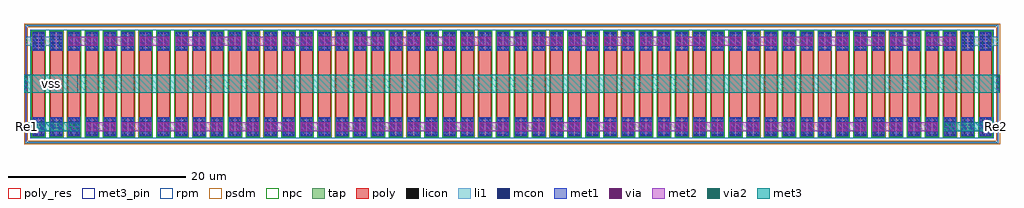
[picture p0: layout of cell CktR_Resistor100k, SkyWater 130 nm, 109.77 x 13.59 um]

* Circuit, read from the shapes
.subckt CktR_Resistor100k Re1 Re2 vss
XR1 vss vss vss sky130_fd_pr__res_high_po w=1.41 l=7.48 m=4
XR2 n1 Re1 vss sky130_fd_pr__res_high_po w=1.41 l=7.48
XR3 n1 n2 vss sky130_fd_pr__res_high_po w=1.41 l=7.48
XR4 n3 n2 vss sky130_fd_pr__res_high_po w=1.41 l=7.48
XR5 n3 n4 vss sky130_fd_pr__res_high_po w=1.41 l=7.48
XR6 n5 n4 vss sky130_fd_pr__res_high_po w=1.41 l=7.48
XR7 n5 n6 vss sky130_fd_pr__res_high_po w=1.41 l=7.48
XR8 n7 n6 vss sky130_fd_pr__res_high_po w=1.41 l=7.48
XR9 n7 n8 vss sky130_fd_pr__res_high_po w=1.41 l=7.48
XR10 n9 n8 vss sky130_fd_pr__res_high_po w=1.41 l=7.48
XR11 n9 n10 vss sky130_fd_pr__res_high_po w=1.41 l=7.48
XR12 n11 n10 vss sky130_fd_pr__res_high_po w=1.41 l=7.48
XR13 n11 n12 vss sky130_fd_pr__res_high_po w=1.41 l=7.48
XR14 n13 n12 vss sky130_fd_pr__res_high_po w=1.41 l=7.48
XR15 n13 n14 vss sky130_fd_pr__res_high_po w=1.41 l=7.48
XR16 n15 n14 vss sky130_fd_pr__res_high_po w=1.41 l=7.48
XR17 n15 n16 vss sky130_fd_pr__res_high_po w=1.41 l=7.48
XR18 n17 n16 vss sky130_fd_pr__res_high_po w=1.41 l=7.48
XR19 n17 n18 vss sky130_fd_pr__res_high_po w=1.41 l=7.48
XR20 n19 n18 vss sky130_fd_pr__res_high_po w=1.41 l=7.48
XR21 n19 n20 vss sky130_fd_pr__res_high_po w=1.41 l=7.48
XR22 n21 n20 vss sky130_fd_pr__res_high_po w=1.41 l=7.48
XR23 n21 n22 vss sky130_fd_pr__res_high_po w=1.41 l=7.48
XR24 n23 n22 vss sky130_fd_pr__res_high_po w=1.41 l=7.48
XR25 n23 n24 vss sky130_fd_pr__res_high_po w=1.41 l=7.48
XR26 n25 n24 vss sky130_fd_pr__res_high_po w=1.41 l=7.48
XR27 n25 n26 vss sky130_fd_pr__res_high_po w=1.41 l=7.48
XR28 n27 n26 vss sky130_fd_pr__res_high_po w=1.41 l=7.48
XR29 n27 n28 vss sky130_fd_pr__res_high_po w=1.41 l=7.48
XR30 n29 n28 vss sky130_fd_pr__res_high_po w=1.41 l=7.48
XR31 n29 n30 vss sky130_fd_pr__res_high_po w=1.41 l=7.48
XR32 n31 n30 vss sky130_fd_pr__res_high_po w=1.41 l=7.48
XR33 n31 n32 vss sky130_fd_pr__res_high_po w=1.41 l=7.48
XR34 n33 n32 vss sky130_fd_pr__res_high_po w=1.41 l=7.48
XR35 n33 n34 vss sky130_fd_pr__res_high_po w=1.41 l=7.48
XR36 n35 n34 vss sky130_fd_pr__res_high_po w=1.41 l=7.48
XR37 n35 n36 vss sky130_fd_pr__res_high_po w=1.41 l=7.48
XR38 n37 n36 vss sky130_fd_pr__res_high_po w=1.41 l=7.48
XR39 n37 n38 vss sky130_fd_pr__res_high_po w=1.41 l=7.48
XR40 n39 n38 vss sky130_fd_pr__res_high_po w=1.41 l=7.48
XR41 n39 n40 vss sky130_fd_pr__res_high_po w=1.41 l=7.48
XR42 n41 n40 vss sky130_fd_pr__res_high_po w=1.41 l=7.48
XR43 n41 n42 vss sky130_fd_pr__res_high_po w=1.41 l=7.48
XR44 n43 n42 vss sky130_fd_pr__res_high_po w=1.41 l=7.48
XR45 n43 n44 vss sky130_fd_pr__res_high_po w=1.41 l=7.48
XR46 n45 n44 vss sky130_fd_pr__res_high_po w=1.41 l=7.48
XR47 n45 n46 vss sky130_fd_pr__res_high_po w=1.41 l=7.48
XR48 n47 n46 vss sky130_fd_pr__res_high_po w=1.41 l=7.48
XR49 n47 n48 vss sky130_fd_pr__res_high_po w=1.41 l=7.48
XR50 n49 n48 vss sky130_fd_pr__res_high_po w=1.41 l=7.48
XR51 n49 Re2 vss sky130_fd_pr__res_high_po w=1.41 l=7.48
.ends

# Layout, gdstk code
import gdstk
lib = gdstk.Library(unit=1e-6, precision=1e-09)
def R(c, l, rs):  # rectangles x0, y0, x1, y1
    for r in rs: c.add(gdstk.rectangle(r[:2], r[2:], *l))
def A(c, l, x, y, w, h, nx, ny, dx, dy):  # array of equal rectangles
    R(c, l, [(x+i*dx, y+j*dy, x+i*dx+w, y+j*dy+h) for i in range(nx) for j in range(ny)])
tap = (65, 44)
poly_res = (66, 13)
poly = (66, 20)
licon = (66, 44)
li1 = (67, 20)
mcon = (67, 44)
met1 = (68, 20)
via = (68, 44)
met2 = (69, 20)
via2 = (69, 44)
met3_pin = (70, 16)
met3 = (70, 20)
rpm = (86, 20)
psdm = (94, 20)
npc = (95, 20)

res_high_po_1p41 = lib.new_cell('res_high_po_1p41')
R(res_high_po_1p41, poly_res, [(-0.705,-3.8,0.705,3.8)])
R(res_high_po_1p41, poly, [(-0.705,-5.88,0.705,5.88)])
R(res_high_po_1p41, licon, [(-0.45,-5.8,-0.26,-3.8), (0.26,-5.8,0.45,-3.8), (-0.45,3.8,-0.26,5.8), (0.26,3.8,0.45,5.8)])
R(res_high_po_1p41, li1, [(-0.705,-5.88,0.705,-3.72), (-0.705,3.72,0.705,5.88)])
A(res_high_po_1p41, mcon, -0.625, -5.785, 0.17, 0.17, 4, 6, 0.36, 0.36)
A(res_high_po_1p41, mcon, -0.625, 3.81, 0.17, 0.17, 4, 6, 0.36, 0.36)
R(res_high_po_1p41, met1, [(-0.655,-5.85,0.655,-3.745), (-0.655,3.745,0.655,5.85)])
R(res_high_po_1p41, rpm, [(-0.905,-6.08,0.905,6.08)])
R(res_high_po_1p41, psdm, [(-0.815,-5.99,0.815,5.99)])
R(res_high_po_1p41, npc, [(-0.8,-5.975,0.8,5.975)])

m1m2_c_cdns_716484811069 = lib.new_cell('M1M2_C_CDNS_7164848110699')
R(m1m2_c_cdns_716484811069, met1, [(-0.13,-1,0.13,1)])
A(m1m2_c_cdns_716484811069, via, -0.075, -0.875, 0.15, 0.15, 1, 6, 0, 0.32)
R(m1m2_c_cdns_716484811069, met2, [(-0.14,-1,0.14,1)])

m2m3_c_cdns_716484811063 = lib.new_cell('M2M3_C_CDNS_7164848110639')
R(m2m3_c_cdns_716484811063, met2, [(-0.14,-1,0.14,1)])
A(m2m3_c_cdns_716484811063, via2, -0.1, -0.9, 0.2, 0.2, 1, 5, 0, 0.4)
R(m2m3_c_cdns_716484811063, met3, [(-0.165,-1,0.165,1)])

l1m1_c_cdns_716484811068 = lib.new_cell('L1M1_C_CDNS_7164848110687')
R(l1m1_c_cdns_716484811068, li1, [(-0.085,-1,0.085,1)])
A(l1m1_c_cdns_716484811068, mcon, -0.085, -0.805, 0.17, 0.17, 1, 5, 0, 0.36)
R(l1m1_c_cdns_716484811068, met1, [(-0.13,-1,0.13,1)])

m2m3_c_cdns_716484811061 = lib.new_cell('M2M3_C_CDNS_71648481106104')
R(m2m3_c_cdns_716484811061, met2, [(-0.655,-0.5,0.655,0.5)])
A(m2m3_c_cdns_716484811061, via2, -0.5, -0.3, 0.2, 0.2, 3, 2, 0.4, 0.4)
R(m2m3_c_cdns_716484811061, met3, [(-0.655,-0.5,0.655,0.5)])

m1m2_c_cdns_716484811061 = lib.new_cell('M1M2_C_CDNS_71648481106105')
R(m1m2_c_cdns_716484811061, met1, [(-0.655,-0.5,0.655,0.5)])
A(m1m2_c_cdns_716484811061, via, -0.555, -0.395, 0.15, 0.15, 4, 3, 0.32, 0.32)
R(m1m2_c_cdns_716484811061, met2, [(-0.655,-0.5,0.655,0.5)])

cktr_resistor100k = lib.new_cell('CktR_Resistor100k')
R(cktr_resistor100k, tap, [(0.125,0.125,109.645,0.295), (0.125,0.295,0.295,13.295), (109.475,0.295,109.645,13.295), (0.125,13.295,109.645,13.465)])
A(cktr_resistor100k, licon, 0.425, 0.125, 0.17, 0.17, 320, 2, 0.34, 13.17)
A(cktr_resistor100k, licon, 0.125, 0.425, 0.17, 0.17, 1, 37, 0, 0.34)
A(cktr_resistor100k, licon, 109.475, 0.425, 0.17, 0.17, 1, 37, 0, 0.34)
R(cktr_resistor100k, li1, [(0.125,0.125,109.645,0.295), (0.125,0.295,0.295,1.5), (109.475,0.295,109.645,1.5), (0.125,1.5,4.335,2.5), (105.435,1.5,109.645,2.5), (0.125,2.5,0.295,11.095), (109.475,2.5,109.645,11.095), (0.125,11.095,4.335,12.095), (105.435,11.095,109.645,12.095), (0.125,12.095,0.295,13.295), (109.475,12.095,109.645,13.295), (0.125,13.295,109.645,13.465)])
A(cktr_resistor100k, met2, 6.995, 1.5, 3.32, 1, 24, 1, 4.02, 0)
A(cktr_resistor100k, met2, 4.985, 11.095, 3.32, 1, 25, 1, 4.02, 0)
R(cktr_resistor100k, met3_pin, [(0.21,1.835,0.54,2.165), (109.23,1.835,109.56,2.165), (0.045,5.81,6.065,7.81)])
R(cktr_resistor100k, met3, [(0.21,1.5,6.3,2.5), (103.475,1.5,109.56,2.5), (0.045,5.81,109.725,7.81)])
A(cktr_resistor100k, rpm, 2.525, 0.715, 0.2, 12.16, 53, 1, 2.01, 0)
R(cktr_resistor100k, psdm, [(0,0,109.77,0.42), (0,0.42,0.42,13.17), (109.35,0.42,109.77,13.17), (0,13.17,109.77,13.59)])
cktr_resistor100k.add(gdstk.Reference(res_high_po_1p41, (1.62,6.795)))
cktr_resistor100k.add(gdstk.Reference(m1m2_c_cdns_716484811069, (0.21,6.81)))
cktr_resistor100k.add(gdstk.Reference(m2m3_c_cdns_716484811063, (0.21,6.81)))
cktr_resistor100k.add(gdstk.Reference(l1m1_c_cdns_716484811068, (0.21,6.81)))
cktr_resistor100k.add(gdstk.Reference(res_high_po_1p41, (3.63,6.795), x_reflection=True))
cktr_resistor100k.add(gdstk.Reference(res_high_po_1p41, (5.64,6.795)))
cktr_resistor100k.add(gdstk.Reference(m2m3_c_cdns_716484811061, (5.64,2)))
cktr_resistor100k.add(gdstk.Reference(m1m2_c_cdns_716484811061, (5.64,11.595)))
cktr_resistor100k.add(gdstk.Reference(m1m2_c_cdns_716484811061, (5.64,2)))
cktr_resistor100k.add(gdstk.Reference(res_high_po_1p41, (7.65,6.795), x_reflection=True))
cktr_resistor100k.add(gdstk.Reference(m1m2_c_cdns_716484811061, (7.65,11.595)))
cktr_resistor100k.add(gdstk.Reference(m1m2_c_cdns_716484811061, (7.65,2)))
cktr_resistor100k.add(gdstk.Reference(res_high_po_1p41, (9.66,6.795)))
cktr_resistor100k.add(gdstk.Reference(m1m2_c_cdns_716484811061, (9.66,11.595)))
cktr_resistor100k.add(gdstk.Reference(m1m2_c_cdns_716484811061, (9.66,2)))
cktr_resistor100k.add(gdstk.Reference(res_high_po_1p41, (11.67,6.795), x_reflection=True))
cktr_resistor100k.add(gdstk.Reference(m1m2_c_cdns_716484811061, (11.67,11.595)))
cktr_resistor100k.add(gdstk.Reference(m1m2_c_cdns_716484811061, (11.67,2)))
cktr_resistor100k.add(gdstk.Reference(res_high_po_1p41, (13.68,6.795)))
cktr_resistor100k.add(gdstk.Reference(m1m2_c_cdns_716484811061, (13.68,11.595)))
cktr_resistor100k.add(gdstk.Reference(m1m2_c_cdns_716484811061, (13.68,2)))
cktr_resistor100k.add(gdstk.Reference(res_high_po_1p41, (15.69,6.795), x_reflection=True))
cktr_resistor100k.add(gdstk.Reference(m1m2_c_cdns_716484811061, (15.69,11.595)))
cktr_resistor100k.add(gdstk.Reference(m1m2_c_cdns_716484811061, (15.69,2)))
cktr_resistor100k.add(gdstk.Reference(res_high_po_1p41, (17.7,6.795)))
cktr_resistor100k.add(gdstk.Reference(m1m2_c_cdns_716484811061, (17.7,11.595)))
cktr_resistor100k.add(gdstk.Reference(m1m2_c_cdns_716484811061, (17.7,2)))
cktr_resistor100k.add(gdstk.Reference(res_high_po_1p41, (19.71,6.795), x_reflection=True))
cktr_resistor100k.add(gdstk.Reference(m1m2_c_cdns_716484811061, (19.71,11.595)))
cktr_resistor100k.add(gdstk.Reference(m1m2_c_cdns_716484811061, (19.71,2)))
cktr_resistor100k.add(gdstk.Reference(res_high_po_1p41, (21.72,6.795)))
cktr_resistor100k.add(gdstk.Reference(m1m2_c_cdns_716484811061, (21.72,11.595)))
cktr_resistor100k.add(gdstk.Reference(m1m2_c_cdns_716484811061, (21.72,2)))
cktr_resistor100k.add(gdstk.Reference(res_high_po_1p41, (23.73,6.795), x_reflection=True))
cktr_resistor100k.add(gdstk.Reference(m1m2_c_cdns_716484811061, (23.73,11.595)))
cktr_resistor100k.add(gdstk.Reference(m1m2_c_cdns_716484811061, (23.73,2)))
cktr_resistor100k.add(gdstk.Reference(res_high_po_1p41, (25.74,6.795)))
cktr_resistor100k.add(gdstk.Reference(m1m2_c_cdns_716484811061, (25.74,11.595)))
cktr_resistor100k.add(gdstk.Reference(m1m2_c_cdns_716484811061, (25.74,2)))
cktr_resistor100k.add(gdstk.Reference(res_high_po_1p41, (27.75,6.795), x_reflection=True))
cktr_resistor100k.add(gdstk.Reference(m1m2_c_cdns_716484811061, (27.75,11.595)))
cktr_resistor100k.add(gdstk.Reference(m1m2_c_cdns_716484811061, (27.75,2)))
cktr_resistor100k.add(gdstk.Reference(res_high_po_1p41, (29.76,6.795)))
cktr_resistor100k.add(gdstk.Reference(m1m2_c_cdns_716484811061, (29.76,11.595)))
cktr_resistor100k.add(gdstk.Reference(m1m2_c_cdns_716484811061, (29.76,2)))
cktr_resistor100k.add(gdstk.Reference(res_high_po_1p41, (31.77,6.795), x_reflection=True))
cktr_resistor100k.add(gdstk.Reference(m1m2_c_cdns_716484811061, (31.77,11.595)))
cktr_resistor100k.add(gdstk.Reference(m1m2_c_cdns_716484811061, (31.77,2)))
cktr_resistor100k.add(gdstk.Reference(res_high_po_1p41, (33.78,6.795)))
cktr_resistor100k.add(gdstk.Reference(m1m2_c_cdns_716484811061, (33.78,11.595)))
cktr_resistor100k.add(gdstk.Reference(m1m2_c_cdns_716484811061, (33.78,2)))
cktr_resistor100k.add(gdstk.Reference(res_high_po_1p41, (35.79,6.795), x_reflection=True))
cktr_resistor100k.add(gdstk.Reference(m1m2_c_cdns_716484811061, (35.79,11.595)))
cktr_resistor100k.add(gdstk.Reference(m1m2_c_cdns_716484811061, (35.79,2)))
cktr_resistor100k.add(gdstk.Reference(res_high_po_1p41, (37.8,6.795)))
cktr_resistor100k.add(gdstk.Reference(m1m2_c_cdns_716484811061, (37.8,11.595)))
cktr_resistor100k.add(gdstk.Reference(m1m2_c_cdns_716484811061, (37.8,2)))
cktr_resistor100k.add(gdstk.Reference(res_high_po_1p41, (39.81,6.795), x_reflection=True))
cktr_resistor100k.add(gdstk.Reference(m1m2_c_cdns_716484811061, (39.81,11.595)))
cktr_resistor100k.add(gdstk.Reference(m1m2_c_cdns_716484811061, (39.81,2)))
cktr_resistor100k.add(gdstk.Reference(res_high_po_1p41, (41.82,6.795)))
cktr_resistor100k.add(gdstk.Reference(m1m2_c_cdns_716484811061, (41.82,11.595)))
cktr_resistor100k.add(gdstk.Reference(m1m2_c_cdns_716484811061, (41.82,2)))
cktr_resistor100k.add(gdstk.Reference(res_high_po_1p41, (43.83,6.795), x_reflection=True))
cktr_resistor100k.add(gdstk.Reference(m1m2_c_cdns_716484811061, (43.83,11.595)))
cktr_resistor100k.add(gdstk.Reference(m1m2_c_cdns_716484811061, (43.83,2)))
cktr_resistor100k.add(gdstk.Reference(res_high_po_1p41, (45.84,6.795)))
cktr_resistor100k.add(gdstk.Reference(m1m2_c_cdns_716484811061, (45.84,11.595)))
cktr_resistor100k.add(gdstk.Reference(m1m2_c_cdns_716484811061, (45.84,2)))
cktr_resistor100k.add(gdstk.Reference(res_high_po_1p41, (47.85,6.795), x_reflection=True))
cktr_resistor100k.add(gdstk.Reference(m1m2_c_cdns_716484811061, (47.85,11.595)))
cktr_resistor100k.add(gdstk.Reference(m1m2_c_cdns_716484811061, (47.85,2)))
cktr_resistor100k.add(gdstk.Reference(res_high_po_1p41, (49.86,6.795)))
cktr_resistor100k.add(gdstk.Reference(m1m2_c_cdns_716484811061, (49.86,11.595)))
cktr_resistor100k.add(gdstk.Reference(m1m2_c_cdns_716484811061, (49.86,2)))
cktr_resistor100k.add(gdstk.Reference(res_high_po_1p41, (51.87,6.795), x_reflection=True))
cktr_resistor100k.add(gdstk.Reference(m1m2_c_cdns_716484811061, (51.87,11.595)))
cktr_resistor100k.add(gdstk.Reference(m1m2_c_cdns_716484811061, (51.87,2)))
cktr_resistor100k.add(gdstk.Reference(res_high_po_1p41, (53.88,6.795)))
cktr_resistor100k.add(gdstk.Reference(m1m2_c_cdns_716484811061, (53.88,11.595)))
cktr_resistor100k.add(gdstk.Reference(m1m2_c_cdns_716484811061, (53.88,2)))
cktr_resistor100k.add(gdstk.Reference(res_high_po_1p41, (55.89,6.795), x_reflection=True))
cktr_resistor100k.add(gdstk.Reference(m1m2_c_cdns_716484811061, (55.89,11.595)))
cktr_resistor100k.add(gdstk.Reference(m1m2_c_cdns_716484811061, (55.89,2)))
cktr_resistor100k.add(gdstk.Reference(res_high_po_1p41, (57.9,6.795)))
cktr_resistor100k.add(gdstk.Reference(m1m2_c_cdns_716484811061, (57.9,11.595)))
cktr_resistor100k.add(gdstk.Reference(m1m2_c_cdns_716484811061, (57.9,2)))
cktr_resistor100k.add(gdstk.Reference(res_high_po_1p41, (59.91,6.795), x_reflection=True))
cktr_resistor100k.add(gdstk.Reference(m1m2_c_cdns_716484811061, (59.91,11.595)))
cktr_resistor100k.add(gdstk.Reference(m1m2_c_cdns_716484811061, (59.91,2)))
cktr_resistor100k.add(gdstk.Reference(res_high_po_1p41, (61.92,6.795)))
cktr_resistor100k.add(gdstk.Reference(m1m2_c_cdns_716484811061, (61.92,2)))
cktr_resistor100k.add(gdstk.Reference(m1m2_c_cdns_716484811061, (61.92,11.595)))
cktr_resistor100k.add(gdstk.Reference(res_high_po_1p41, (63.93,6.795), x_reflection=True))
cktr_resistor100k.add(gdstk.Reference(m1m2_c_cdns_716484811061, (63.93,2)))
cktr_resistor100k.add(gdstk.Reference(m1m2_c_cdns_716484811061, (63.93,11.595)))
cktr_resistor100k.add(gdstk.Reference(res_high_po_1p41, (65.94,6.795)))
cktr_resistor100k.add(gdstk.Reference(m1m2_c_cdns_716484811061, (65.94,2)))
cktr_resistor100k.add(gdstk.Reference(m1m2_c_cdns_716484811061, (65.94,11.595)))
cktr_resistor100k.add(gdstk.Reference(res_high_po_1p41, (67.95,6.795), x_reflection=True))
cktr_resistor100k.add(gdstk.Reference(m1m2_c_cdns_716484811061, (67.95,2)))
cktr_resistor100k.add(gdstk.Reference(m1m2_c_cdns_716484811061, (67.95,11.595)))
cktr_resistor100k.add(gdstk.Reference(res_high_po_1p41, (69.96,6.795)))
cktr_resistor100k.add(gdstk.Reference(m1m2_c_cdns_716484811061, (69.96,11.595)))
cktr_resistor100k.add(gdstk.Reference(m1m2_c_cdns_716484811061, (69.96,2)))
cktr_resistor100k.add(gdstk.Reference(res_high_po_1p41, (71.97,6.795), x_reflection=True))
cktr_resistor100k.add(gdstk.Reference(m1m2_c_cdns_716484811061, (71.97,11.595)))
cktr_resistor100k.add(gdstk.Reference(m1m2_c_cdns_716484811061, (71.97,2)))
cktr_resistor100k.add(gdstk.Reference(res_high_po_1p41, (73.98,6.795)))
cktr_resistor100k.add(gdstk.Reference(m1m2_c_cdns_716484811061, (73.98,11.595)))
cktr_resistor100k.add(gdstk.Reference(m1m2_c_cdns_716484811061, (73.98,2)))
cktr_resistor100k.add(gdstk.Reference(res_high_po_1p41, (75.99,6.795), x_reflection=True))
cktr_resistor100k.add(gdstk.Reference(m1m2_c_cdns_716484811061, (75.99,11.595)))
cktr_resistor100k.add(gdstk.Reference(m1m2_c_cdns_716484811061, (75.99,2)))
cktr_resistor100k.add(gdstk.Reference(res_high_po_1p41, (78,6.795)))
cktr_resistor100k.add(gdstk.Reference(m1m2_c_cdns_716484811061, (78,11.595)))
cktr_resistor100k.add(gdstk.Reference(m1m2_c_cdns_716484811061, (78,2)))
cktr_resistor100k.add(gdstk.Reference(res_high_po_1p41, (80.01,6.795), x_reflection=True))
cktr_resistor100k.add(gdstk.Reference(m1m2_c_cdns_716484811061, (80.01,11.595)))
cktr_resistor100k.add(gdstk.Reference(m1m2_c_cdns_716484811061, (80.01,2)))
cktr_resistor100k.add(gdstk.Reference(res_high_po_1p41, (82.02,6.795)))
cktr_resistor100k.add(gdstk.Reference(m1m2_c_cdns_716484811061, (82.02,11.595)))
cktr_resistor100k.add(gdstk.Reference(m1m2_c_cdns_716484811061, (82.02,2)))
cktr_resistor100k.add(gdstk.Reference(res_high_po_1p41, (84.03,6.795), x_reflection=True))
cktr_resistor100k.add(gdstk.Reference(m1m2_c_cdns_716484811061, (84.03,11.595)))
cktr_resistor100k.add(gdstk.Reference(m1m2_c_cdns_716484811061, (84.03,2)))
cktr_resistor100k.add(gdstk.Reference(res_high_po_1p41, (86.04,6.795)))
cktr_resistor100k.add(gdstk.Reference(m1m2_c_cdns_716484811061, (86.04,11.595)))
cktr_resistor100k.add(gdstk.Reference(m1m2_c_cdns_716484811061, (86.04,2)))
cktr_resistor100k.add(gdstk.Reference(res_high_po_1p41, (88.05,6.795), x_reflection=True))
cktr_resistor100k.add(gdstk.Reference(m1m2_c_cdns_716484811061, (88.05,11.595)))
cktr_resistor100k.add(gdstk.Reference(m1m2_c_cdns_716484811061, (88.05,2)))
cktr_resistor100k.add(gdstk.Reference(res_high_po_1p41, (90.06,6.795)))
cktr_resistor100k.add(gdstk.Reference(m1m2_c_cdns_716484811061, (90.06,11.595)))
cktr_resistor100k.add(gdstk.Reference(m1m2_c_cdns_716484811061, (90.06,2)))
cktr_resistor100k.add(gdstk.Reference(res_high_po_1p41, (92.07,6.795), x_reflection=True))
cktr_resistor100k.add(gdstk.Reference(m1m2_c_cdns_716484811061, (92.07,11.595)))
cktr_resistor100k.add(gdstk.Reference(m1m2_c_cdns_716484811061, (92.07,2)))
cktr_resistor100k.add(gdstk.Reference(res_high_po_1p41, (94.08,6.795)))
cktr_resistor100k.add(gdstk.Reference(m1m2_c_cdns_716484811061, (94.08,11.595)))
cktr_resistor100k.add(gdstk.Reference(m1m2_c_cdns_716484811061, (94.08,2)))
cktr_resistor100k.add(gdstk.Reference(res_high_po_1p41, (96.09,6.795), x_reflection=True))
cktr_resistor100k.add(gdstk.Reference(m1m2_c_cdns_716484811061, (96.09,11.595)))
cktr_resistor100k.add(gdstk.Reference(m1m2_c_cdns_716484811061, (96.09,2)))
cktr_resistor100k.add(gdstk.Reference(res_high_po_1p41, (98.1,6.795)))
cktr_resistor100k.add(gdstk.Reference(m1m2_c_cdns_716484811061, (98.1,11.595)))
cktr_resistor100k.add(gdstk.Reference(m1m2_c_cdns_716484811061, (98.1,2)))
cktr_resistor100k.add(gdstk.Reference(res_high_po_1p41, (100.11,6.795), x_reflection=True))
cktr_resistor100k.add(gdstk.Reference(m1m2_c_cdns_716484811061, (100.11,11.595)))
cktr_resistor100k.add(gdstk.Reference(m1m2_c_cdns_716484811061, (100.11,2)))
cktr_resistor100k.add(gdstk.Reference(res_high_po_1p41, (102.12,6.795)))
cktr_resistor100k.add(gdstk.Reference(m1m2_c_cdns_716484811061, (102.12,11.595)))
cktr_resistor100k.add(gdstk.Reference(m1m2_c_cdns_716484811061, (102.12,2)))
cktr_resistor100k.add(gdstk.Reference(res_high_po_1p41, (104.13,6.795), x_reflection=True))
cktr_resistor100k.add(gdstk.Reference(m2m3_c_cdns_716484811061, (104.13,2)))
cktr_resistor100k.add(gdstk.Reference(m1m2_c_cdns_716484811061, (104.13,2)))
cktr_resistor100k.add(gdstk.Reference(m1m2_c_cdns_716484811061, (104.13,11.595)))
cktr_resistor100k.add(gdstk.Reference(res_high_po_1p41, (106.14,6.795)))
cktr_resistor100k.add(gdstk.Reference(res_high_po_1p41, (108.15,6.795), x_reflection=True))
cktr_resistor100k.add(gdstk.Reference(m1m2_c_cdns_716484811069, (109.56,6.81)))
cktr_resistor100k.add(gdstk.Reference(m2m3_c_cdns_716484811063, (109.56,6.81)))
cktr_resistor100k.add(gdstk.Reference(l1m1_c_cdns_716484811068, (109.56,6.81)))
cktr_resistor100k.add(gdstk.Label('vss', (3.055,6.81), layer=70, texttype=5))
cktr_resistor100k.add(gdstk.Label('Re2', (109.395,2), layer=70, texttype=5))
cktr_resistor100k.add(gdstk.Label('Re1', (0.375,2), layer=70, texttype=5))

lib.write_gds('CktR_Resistor100k.gds')
